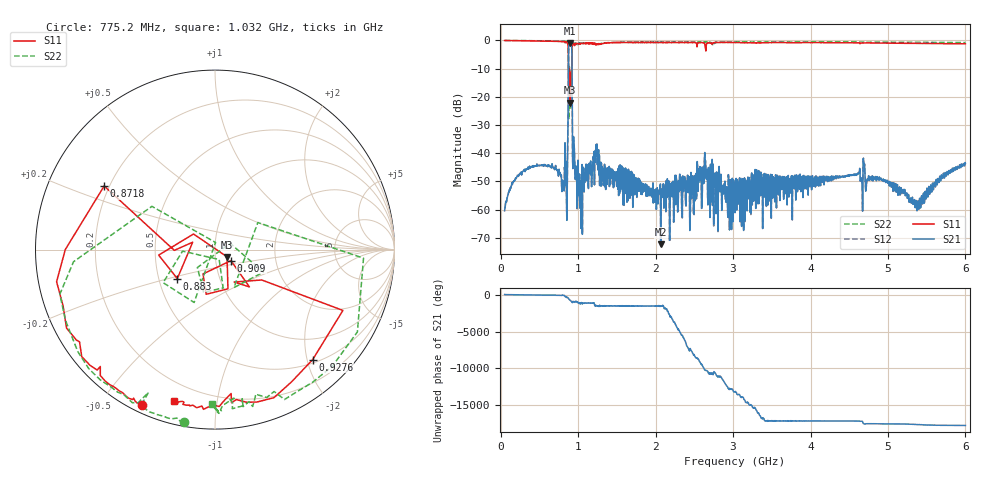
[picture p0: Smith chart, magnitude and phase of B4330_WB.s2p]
! Matrix data file written by TouchstoneData, EPCOS AG
! FILENAME: "ptable_B4330_PCB1_WB.s2p"
! COMMENT: "(B4330_PCB1_WB.s2p) Epcos AG 1/15/2014 2:45:"
! INFO: nport=2, nfreq=1601
! DATE: "Mon Jan 27 09:28:02 2014"
! USER: "Sergey Rostovtsev"
! port | pin | signal
!  1  |  1  |  input
!  2  |  4  |  output
# MHZ S RI R 50
! freq  reS11 imS11  reS21 imS21  reS12 imS12  reS22 imS22
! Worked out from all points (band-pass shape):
!   1601 points, 50 MHz to 6 GHz, reference 50 ohm
!   highest |S21| = -0.98 dB at 894.2 MHz (marker M1); lowest = -72.3 dB at 2.066 GHz (marker M2)
!   |S21| within 3 dB of the highest: 876.6 MHz to 918.3 MHz (41.69 MHz wide, 4.65 % of centre)
!   lowest |S11| = -22.1 dB at 894.2 MHz (marker M3), VSWR 1.17, Z = 57 - j4.63 ohm
!   |S11| at or under -10 dB: 874.5 MHz to 920.3 MHz (45.78 MHz wide, 5.1 % of centre)
!   |S22| runs from -28.0 to 0.0 dB; largest |S21 - S12| = 0.0032
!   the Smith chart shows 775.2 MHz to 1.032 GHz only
!   S11 on the Smith chart (normalised r, x): 775.2 MHz: 0.03, -0.64; 871.8 MHz: 0.18, +0.26; 883 MHz: 0.62, -0.22; 909 MHz: 1.19, -0.15; 927.6 MHz: 0.56, -2.10; 1.032 GHz: 0.11, -0.76
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50  0.9846 -0.1586  1.62e-05 0.000947  3.1e-06 0.00108  0.9922 -0.123
347.5  0.521 -0.8357  0.00428 0.00329  0.00426 0.00327  0.6837 -0.7192
775.1562  -0.4051 -0.8651  0.00368 -0.00149  0.00368 -0.00149  -0.1719 -0.9618
834.6562  -0.6391 -0.6512  -0.00555 0.00528  -0.00552 0.00528  -0.4293 -0.854
871.8438  -0.6176 0.3543  0.0728 -0.0585  0.0726 -0.0584  -0.7882 -0.0675
883  -0.21 -0.1618  -0.6814 0.4326  -0.6797 0.4324  -0.1165 -0.2946
894.1562  0.0672 -0.0403  0.6539 0.6086  0.6534 0.6068  0.0233 -0.0554
909.0312  0.0889 -0.0612  0.0757 -0.8677  0.0755 -0.8658  0.0841 0.0351
927.625  0.5445 -0.6124  0.00279 0.00769  0.00279 0.00768  0.7933 -0.4588
957.375  0.0496 -0.8431  -0.000733 0.00548  -0.000733 0.00544  0.2237 -0.8251
1031.75  -0.2288 -0.8418  0.00135 0.00193  0.00134 0.00193  -0.0162 -0.8586
1042.906  -0.2519 -0.8485  0.000872 0.00416  0.000905 0.00415  -0.064 -0.8673
1225.125  -0.4214 -0.7212  0.00995 -0.00093  0.00988 -0.00094  -0.2523 -0.8077
2035.812  -0.7898 -0.4795  0.00184 0.000797  0.00185 0.000828  -0.6627 -0.6392
2065.562  -0.7853 -0.468  -2.1e-05 -0.000241  -4.31e-05 -0.000219  -0.6882 -0.6293
2467.188  -0.8577 -0.348  -0.00192 -0.00294  -0.00191 -0.00294  -0.7696 -0.5162
2638.25  -0.8004 -0.1396  -0.00364 -0.000813  -0.00363 -0.000784  -0.8091 -0.4721
3025  -0.8879 -0.2336  -0.000364 0.000796  -0.00037 0.000804  -0.8533 -0.4042
4017.906  -0.9173 -0.0177  -0.00126 0.00248  -0.00124 0.00245  -0.9219 -0.1928
5010.812  -0.8737 0.1974  0.00158 0.00278  0.00159 0.00275  -0.9319 0.0252
5397.562  -0.8449 0.2672  0.000723 -0.000711  0.000736 -0.000697  -0.9197 0.1058
6000  -0.7855 0.3795  -0.00587 -0.00294  -0.00585 -0.00296  -0.8836 0.2425
